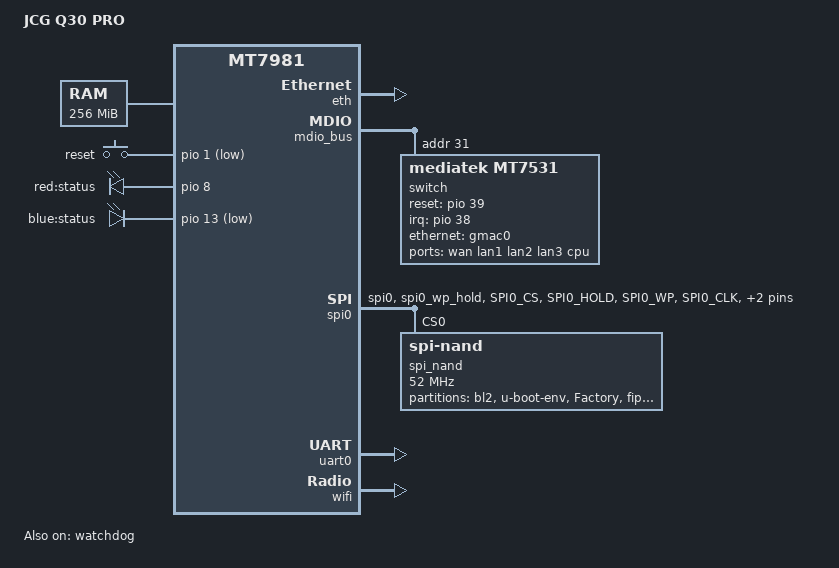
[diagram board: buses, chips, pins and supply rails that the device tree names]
// SPDX-License-Identifier: GPL-2.0-or-later OR MIT

/dts-v1/;
#include <dt-bindings/gpio/gpio.h>
#include <dt-bindings/input/input.h>

#include "mt7981.dtsi"

/ {
	model = "JCG Q30 PRO";
	compatible = "jcg,q30-pro", "mediatek,mt7981";

	aliases {
		serial0 = &uart0;
		label-mac-device = &gmac0;
		led-boot = &led_status_red;
		led-failsafe = &led_status_red;
		led-running = &led_status_blue;
		led-upgrade = &led_status_blue;
	};

	chosen {
		stdout-path = "serial0:115200n8";
	};

	memory {
		reg = <0 0x40000000 0 0x10000000>;
	};

	gpio-keys {
		compatible = "gpio-keys";

		reset {
			label = "reset";
			linux,code = <KEY_RESTART>;
			gpios = <&pio 1 GPIO_ACTIVE_LOW>;
		};
	};

	leds {
		compatible = "gpio-leds";

		led_status_red: red {
			label = "red:status";
			gpios = <&pio 8 GPIO_ACTIVE_HIGH>;
		};

		led_status_blue: blue {
			label = "blue:status";
			gpios = <&pio 13 GPIO_ACTIVE_LOW>;
		};
	};
};

&eth {
	status = "okay";

	gmac0: mac@0 {
		compatible = "mediatek,eth-mac";
		reg = <0>;
		phy-mode = "2500base-x";

		nvmem-cells = <&macaddr_lan>;
		nvmem-cell-names = "mac-address";

		fixed-link {
			speed = <2500>;
			full-duplex;
			pause;
		};
	};
};

&mdio_bus {
	switch: switch@0 {
		compatible = "mediatek,mt7531";
		reg = <31>;
		reset-gpios = <&pio 39 GPIO_ACTIVE_HIGH>;
		interrupt-controller;
		#interrupt-cells = <1>;
		interrupt-parent = <&pio>;
		interrupts = <38 IRQ_TYPE_LEVEL_HIGH>;
	};
};

&spi0 {
	pinctrl-names = "default";
	pinctrl-0 = <&spi0_flash_pins>;
	status = "okay";

	spi_nand@0 {
		compatible = "spi-nand";
		#address-cells = <1>;
		#size-cells = <1>;
		reg = <0>;

		spi-max-frequency = <52000000>;
		spi-tx-bus-width = <4>;
		spi-rx-bus-width = <4>;

		mediatek,nmbm;
		mediatek,bmt-max-ratio = <1>;
		mediatek,bmt-max-reserved-blocks = <64>;

		partitions {
			compatible = "fixed-partitions";
			#address-cells = <1>;
			#size-cells = <1>;

			partition@0 {
				label = "bl2";
				reg = <0x0000000 0x0100000>;
				read-only;
			};

			partition@100000 {
				label = "u-boot-env";
				reg = <0x0100000 0x0080000>;
			};

			factory: partition@180000 {
				label = "Factory";
				reg = <0x0180000 0x0200000>;
				read-only;
			};

			partition@380000 {
				label = "fip";
				reg = <0x0380000 0x0200000>;
				read-only;
			};

			partition@580000 {
				label = "ubi";
				reg = <0x0580000 0x7000000>;
			};
		};
	};
};

&switch {
	ports {
		#address-cells = <1>;
		#size-cells = <0>;

		port@0 {
			reg = <0>;
			label = "wan";
			nvmem-cells = <&macaddr_wan>;
			nvmem-cell-names = "mac-address";
		};

		port@1 {
			reg = <1>;
			label = "lan1";
		};

		port@2 {
			reg = <2>;
			label = "lan2";
		};

		port@3 {
			reg = <3>;
			label = "lan3";
		};

		port@6 {
			reg = <6>;
			label = "cpu";
			ethernet = <&gmac0>;
			phy-mode = "2500base-x";

			fixed-link {
				speed = <2500>;
				full-duplex;
				pause;
			};
		};
	};
};

&pio {
	spi0_flash_pins: spi0-pins {
		mux {
			function = "spi";
			groups = "spi0", "spi0_wp_hold";
		};

		conf-pu {
			pins = "SPI0_CS", "SPI0_HOLD", "SPI0_WP";
			drive-strength = <8>;
			mediatek,pull-up-adv = <0>; /* bias-disable */
		};

		conf-pd {
			pins = "SPI0_CLK", "SPI0_MOSI", "SPI0_MISO";
			drive-strength = <8>;
			mediatek,pull-up-adv = <0>; /* bias-disable */
		};
	};
};

&uart0 {
	status = "okay";
};

&watchdog {
	status = "okay";
};

&wifi {
	status = "okay";

	mediatek,mtd-eeprom = <&factory 0x0>;
};

&factory {
	compatible = "nvmem-cells";
	#address-cells = <1>;
	#size-cells = <1>;

	macaddr_wan: macaddr@a0024 {
		reg = <0xa0024 0x6>;
	};

	macaddr_lan: macaddr@a002a {
		reg = <0xa002a 0x6>;
	};
};
